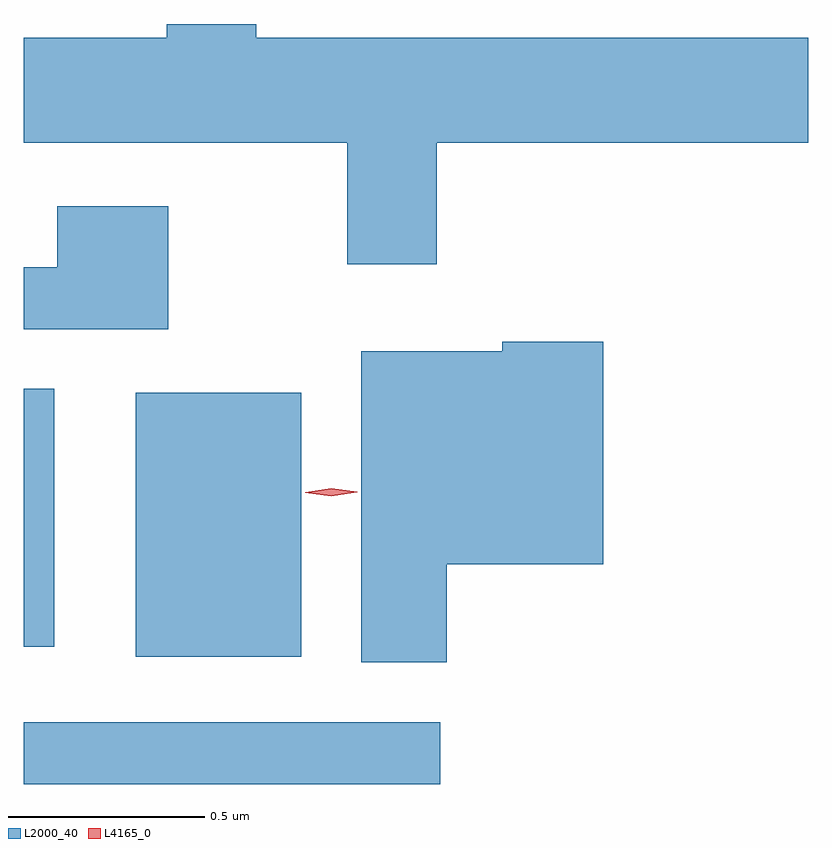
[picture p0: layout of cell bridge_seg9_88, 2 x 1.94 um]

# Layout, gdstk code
import gdstk
lib = gdstk.Library(unit=1e-6, precision=1e-09)
def R(c, l, rs):  # rectangles x0, y0, x1, y1
    for r in rs: c.add(gdstk.rectangle(r[:2], r[2:], *l))
def P(c, l, *ps):  # polygons
    for p in ps: c.add(gdstk.Polygon(p, *l))
L2000_40 = (2000, 40)
L4165_0 = (4165, 0)

bridge_seg9_88 = lib.new_cell('bridge_seg9_88')
R(bridge_seg9_88, L2000_40, [(1719.946,1992.401,1721.008,1992.559), (1720.231,1992.726,1720.654,1993.399), (1719.946,1992.751,1720.024,1993.409)])
P(bridge_seg9_88, L2000_40, [(1720.999,1994.036),(1721.946,1994.036),(1721.946,1994.304),(1720.539,1994.304),(1720.539,1994.339),(1720.311,1994.339),(1720.311,1994.304),(1719.946,1994.304),(1719.946,1994.036),(1720.771,1994.036),(1720.771,1993.726),(1720.999,1993.726)],
  [(1720.314,1993.874),(1720.031,1993.874),(1720.031,1993.719),(1719.946,1993.719),(1719.946,1993.561),(1720.314,1993.561)],
  [(1721.024,1992.961),(1721.424,1992.961),(1721.424,1993.529),(1721.166,1993.529),(1721.166,1993.504),(1720.806,1993.504),(1720.806,1992.711),(1721.024,1992.711)])
P(bridge_seg9_88, L4165_0, [(1720.73,1993.135),(1720.664,1993.144),(1720.664,1993.144),(1720.664,1993.145),(1720.73,1993.155),(1720.796,1993.146),(1720.796,1993.146),(1720.796,1993.145)])

lib.write_gds('bridge_seg9_88.gds')
